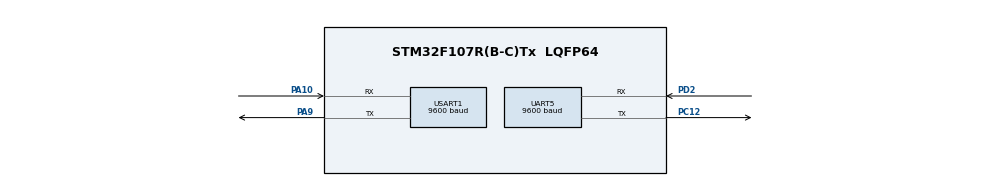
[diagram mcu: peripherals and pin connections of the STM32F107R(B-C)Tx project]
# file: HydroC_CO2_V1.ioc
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FREERTOS.BinarySemaphores01=glider_uart_sem,Dynamic,NULL;sensor_uart_sem,Dynamic,NULL
FREERTOS.Tasks01=defaultTask,0,256,StartDefaultTask,Default,NULL,Dynamic,NULL,NULL;uart_tx_t,0,256,uart_tx_f,Default,NULL,Dynamic,NULL,NULL
FREERTOS.Timers01=timer1,timer1_cb,osTimerOnce,Default,NULL,Dynamic,NULL
FREERTOS.configTOTAL_HEAP_SIZE=20000
FREERTOS.configUSE_TIMERS=1
Mcu.Family=STM32F1
Mcu.Name=STM32F107R(B-C)Tx
Mcu.Package=LQFP64
NVIC.PriorityGroup=NVIC_PRIORITYGROUP_4
NVIC.TIM1_UP_IRQn=true\:15\:0\:false\:false\:true\:false\:false\:true\:true
NVIC.TimeBase=TIM1_UP_IRQn
NVIC.TimeBaseIP=TIM1
NVIC.UART5_IRQn=true\:5\:0\:false\:false\:true\:true\:true\:true\:true
NVIC.USART1_IRQn=true\:5\:0\:false\:false\:true\:true\:true\:true\:true
PA10.Mode=Asynchronous
PA10.Signal=USART1_RX
PA9.Mode=Asynchronous
PA9.Signal=USART1_TX
PC12.Mode=Asynchronous
PC12.Signal=UART5_TX
PD0-OSC_IN.Mode=HSE-External-Oscillator
PD0-OSC_IN.Signal=RCC_OSC_IN
PD1-OSC_OUT.Mode=HSE-External-Oscillator
PD1-OSC_OUT.Signal=RCC_OSC_OUT
PD2.Mode=Asynchronous
PD2.Signal=UART5_RX
ProjectManager.HeapSize=0x200
ProjectManager.StackSize=0x400
ProjectManager.TargetToolchain=STM32CubeIDE
RCC.HSE_VALUE=10000000
RCC.USBFreq_Value=10666666.666666666
UART5.BaudRate=9600
UART5.VirtualMode=Asynchronous
USART1.BaudRate=9600
USART1.VirtualMode=VM_ASYNC
VP_FREERTOS_VS_CMSIS_V1.Mode=CMSIS_V1
VP_SYS_VS_ND.Mode=No_Debug
VP_SYS_VS_tim1.Mode=TIM1
board=custom

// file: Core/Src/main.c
/* USER CODE BEGIN Header */
/**
  ******************************************************************************
  * @file           : main.c
  * @brief          : Main program body
  ******************************************************************************
  * @attention
  *
  * <h2><center>&copy; Copyright (c) 2022 STMicroelectronics.
  * All rights reserved.</center></h2>
  *
  * This software component is licensed by ST under Ultimate Liberty license
  * SLA0044, the "License"; You may not use this file except in compliance with
  * the License. You may obtain a copy of the License at:
  *                             www.st.com/SLA0044
  *
  ******************************************************************************
  */
/* USER CODE END Header */
#include "main.h"
#include "cmsis_os.h"

/* USER CODE BEGIN Includes */
#include "seaglider.h"
#include "HYDROC.h"
#include "string.h"
#include "mcu_flash.h"

/* USER CODE END Includes */

/* USER CODE BEGIN PD */

#define  SENSOR_UART             huart1
#define  GLIDER_UART             huart5

/* USER CODE END PD */

UART_HandleTypeDef huart5;
UART_HandleTypeDef huart1;

osThreadId defaultTaskHandle;
osThreadId uart_tx_tHandle;
osTimerId timer1Handle;
osSemaphoreId glider_uart_semHandle;
osSemaphoreId sensor_uart_semHandle;
/* USER CODE BEGIN PV */

seaglider glider1;
hydroc hydroc_sensor1;
mcu_flash data_flash;

/* USER CODE END PV */

void SystemClock_Config(void);
static void MX_GPIO_Init(void);
static void MX_UART5_Init(void);
static void MX_USART1_UART_Init(void);
void StartDefaultTask(void const * argument);
void uart_tx_f(void const * argument);
void timer1_cb(void const * argument);

int main(void)
{

  /* MCU Configuration--------------------------------------------------------*/

  /* Reset of all peripherals, Initializes the Flash interface and the Systick. */
  HAL_Init();

  /* Configure the system clock */
  SystemClock_Config();

  /* Initialize all configured peripherals */
  MX_GPIO_Init();
  MX_UART5_Init();
  MX_USART1_UART_Init();
  /* USER CODE BEGIN 2 */
  seaglider_init(&glider1);
  hydroc_init(&hydroc_sensor1);
  mcu_flash_init(&data_flash,82);

  HAL_UART_Receive_IT(&SENSOR_UART,&(hydroc_sensor1.media_rx_byte),1);
  HAL_UART_Receive_IT(&GLIDER_UART,&(glider1.media_rx_byte),1);

  /* USER CODE END 2 */

  /* Create the semaphores(s) */
  /* definition and creation of glider_uart_sem */
  osSemaphoreDef(glider_uart_sem);
  glider_uart_semHandle = osSemaphoreCreate(osSemaphore(glider_uart_sem), 1);

  /* definition and creation of sensor_uart_sem */
  osSemaphoreDef(sensor_uart_sem);
  sensor_uart_semHandle = osSemaphoreCreate(osSemaphore(sensor_uart_sem), 1);

  /* Create the timer(s) */
  /* definition and creation of timer1 */
  osTimerDef(timer1, timer1_cb);
  timer1Handle = osTimerCreate(osTimer(timer1), osTimerOnce, NULL);

  /* Create the thread(s) */
  /* definition and creation of defaultTask */
  osThreadDef(defaultTask, StartDefaultTask, osPriorityNormal, 0, 256);
  defaultTaskHandle = osThreadCreate(osThread(defaultTask), NULL);

  /* definition and creation of uart_tx_t */
  osThreadDef(uart_tx_t, uart_tx_f, osPriorityNormal, 0, 256);
  uart_tx_tHandle = osThreadCreate(osThread(uart_tx_t), NULL);

  /* Start scheduler */
  osKernelStart();

  /* We should never get here as control is now taken by the scheduler */
  /* Infinite loop */
  while (1)
  {

  }
}

void SystemClock_Config(void)
{
  RCC_OscInitTypeDef RCC_OscInitStruct = {0};
  RCC_ClkInitTypeDef RCC_ClkInitStruct = {0};

  /** Initializes the RCC Oscillators according to the specified parameters
  * in the RCC_OscInitTypeDef structure.
  */
  RCC_OscInitStruct.OscillatorType = RCC_OSCILLATORTYPE_HSI;
  RCC_OscInitStruct.HSIState = RCC_HSI_ON;
  RCC_OscInitStruct.HSICalibrationValue = RCC_HSICALIBRATION_DEFAULT;
  RCC_OscInitStruct.PLL.PLLState = RCC_PLL_NONE;
  RCC_OscInitStruct.PLL2.PLL2State = RCC_PLL_NONE;
  if (HAL_RCC_OscConfig(&RCC_OscInitStruct) != HAL_OK)
  {
    Error_Handler();
  }
  /** Initializes the CPU, AHB and APB buses clocks
  */
  RCC_ClkInitStruct.ClockType = RCC_CLOCKTYPE_HCLK|RCC_CLOCKTYPE_SYSCLK
                              |RCC_CLOCKTYPE_PCLK1|RCC_CLOCKTYPE_PCLK2;
  RCC_ClkInitStruct.SYSCLKSource = RCC_SYSCLKSOURCE_HSI;
  RCC_ClkInitStruct.AHBCLKDivider = RCC_SYSCLK_DIV1;
  RCC_ClkInitStruct.APB1CLKDivider = RCC_HCLK_DIV1;
  RCC_ClkInitStruct.APB2CLKDivider = RCC_HCLK_DIV1;

  if (HAL_RCC_ClockConfig(&RCC_ClkInitStruct, FLASH_LATENCY_0) != HAL_OK)
  {
    Error_Handler();
  }
  /** Configure the Systick interrupt time
  */
  __HAL_RCC_PLLI2S_ENABLE();
}

static void MX_UART5_Init(void)
{

  huart5.Instance = UART5;
  huart5.Init.BaudRate = 9600;
  huart5.Init.WordLength = UART_WORDLENGTH_8B;
  huart5.Init.StopBits = UART_STOPBITS_1;
  huart5.Init.Parity = UART_PARITY_NONE;
  huart5.Init.Mode = UART_MODE_TX_RX;
  huart5.Init.HwFlowCtl = UART_HWCONTROL_NONE;
  huart5.Init.OverSampling = UART_OVERSAMPLING_16;
  if (HAL_UART_Init(&huart5) != HAL_OK)
  {
    Error_Handler();
  }

}

static void MX_USART1_UART_Init(void)
{

  huart1.Instance = USART1;
  huart1.Init.BaudRate = 9600;
  huart1.Init.WordLength = UART_WORDLENGTH_8B;
  huart1.Init.StopBits = UART_STOPBITS_1;
  huart1.Init.Parity = UART_PARITY_NONE;
  huart1.Init.Mode = UART_MODE_TX_RX;
  huart1.Init.HwFlowCtl = UART_HWCONTROL_NONE;
  huart1.Init.OverSampling = UART_OVERSAMPLING_16;
  if (HAL_UART_Init(&huart1) != HAL_OK)
  {
    Error_Handler();
  }

}

static void MX_GPIO_Init(void)
{

  /* GPIO Ports Clock Enable */
  __HAL_RCC_GPIOD_CLK_ENABLE();
  __HAL_RCC_GPIOA_CLK_ENABLE();
  __HAL_RCC_GPIOC_CLK_ENABLE();

}

/* USER CODE BEGIN 4 */
uint8_t tmp1;
uint8_t tmp2;

void HAL_UART_RxCpltCallback(UART_HandleTypeDef *huart)
{
 if(huart==&SENSOR_UART)
 {
	 hydroc_media_process_byte(&hydroc_sensor1,hydroc_sensor1.media_rx_byte);
	 HAL_UART_Receive_IT(&SENSOR_UART,&(hydroc_sensor1.media_rx_byte),1);
 }
 else if(huart==&GLIDER_UART)
 {
	 seaglider_media_process_byte(&glider1,glider1.media_rx_byte);
	 HAL_UART_Receive_IT(&GLIDER_UART,&(glider1.media_rx_byte),1);
 }
}

void HAL_UART_TxCpltCallback(UART_HandleTypeDef *huart)
{

 if(huart==&SENSOR_UART)
 {
	 if(hydroc_media_get_byte(&hydroc_sensor1,&tmp2)==HYDROC_F_OK)
	 {
	    HAL_UART_Transmit_IT(&SENSOR_UART,&tmp2,1);
	 }
 }
 else if(huart==&GLIDER_UART)
 {
	 if(seaglider_media_get_byte(&glider1,&tmp1)==SEAGLIDER_F_OK)
	 {
	    HAL_UART_Transmit_IT(&GLIDER_UART,&tmp1,1);
	 }
 }
}

/* USER CODE END 4 */

void StartDefaultTask(void const * argument)
{
  /* USER CODE BEGIN 5 */
  /* Infinite loop */

  //HAL_UART_Transmit(&GLIDER_UART,"GLDR\r",5,10);
  //HAL_UART_Transmit(&SENSOR_UART,"SENS\r",5,10);

  mcu_flash_open(&data_flash);
  uint8_t event_id;
  char tmp_str[30];
  memory_region_pointer ptr1;

  osDelay(50);
  seaglider_send_cmd(&glider1,SEAGLIDER_CMD_PROMPT,NULL);

  for(;;)
  {
		 //glider task
		 if(seaglider_get_event(&glider1,&event_id)==SEAGLIDER_F_OK)
		 {
			switch(event_id)
			{
			 case SEAGLIDER_EVNT_CLEAR_RCVD:
				  hydroc_send_cmd(&hydroc_sensor1,HYDROC_CMD_ENTER_CFG,NULL);
				  osDelay(1000);
				  hydroc_send_cmd(&hydroc_sensor1,HYDROC_CMD_CLEAR,NULL);
				  osDelay(1000);
				  hydroc_send_cmd(&hydroc_sensor1,HYDROC_CMD_EXIT_CFG,NULL);
				  seaglider_send_cmd(&glider1,SEAGLIDER_CMD_PROMPT,NULL);
			 break;
			 case SEAGLIDER_EVNT_POFF_RCVD:
				  hydroc_send_cmd(&hydroc_sensor1,HYDROC_CMD_ENTER_CFG,NULL);
				  osDelay(1000);
				  hydroc_send_cmd(&hydroc_sensor1,HYDROC_CMD_DISABLE_PUMP,NULL);
				  osDelay(1000);
				  hydroc_send_cmd(&hydroc_sensor1,HYDROC_CMD_EXIT_CFG,NULL);
				  seaglider_send_cmd(&glider1,SEAGLIDER_CMD_PROMPT,NULL);
			 break;
			 case SEAGLIDER_EVNT_DEPTH_RCVD:
				  seaglider_send_cmd(&glider1,SEAGLIDER_CMD_PROMPT,NULL);
	         break;
			 case SEAGLIDER_EVNT_STOP_RCVD:

				  mcu_flash_close(&data_flash,MCU_FLASH_CLEAN_FLAG);

				  if(glider1.dive_status==glider1.param_y)
				  {
					hydroc_send_cmd(&hydroc_sensor1,HYDROC_CMD_ENTER_CFG,NULL);
					osDelay(1000);
					hydroc_send_cmd(&hydroc_sensor1,HYDROC_CMD_SET_ZERO_MODE,NULL);
					osDelay(1000);
				    if(glider1.stop_trigger==SEAGLIDER_STOP_WAIT)
				    {
					  hydroc_send_cmd(&hydroc_sensor1,HYDROC_CMD_DISABLE_PUMP,NULL);
					  osDelay(1000);
				    }
					hydroc_send_cmd(&hydroc_sensor1,HYDROC_CMD_EXIT_CFG,NULL);
					osDelay(1000);
					glider1.stop_trigger=SEAGLIDER_STOP_TRIGGERED;
				  }

				  //hydroc_send_cmd(&hydroc_sensor1,HYDROC_CMD_TEST,NULL);
				  seaglider_send_cmd(&glider1,SEAGLIDER_CMD_PROMPT,NULL);
			 break;
			 case SEAGLIDER_EVNT_START_RCVD:

				  hydroc_sensor1.status=HYDROC_WAIT_DATA;

				  if(glider1.start_trigger==SEAGLIDER_START_WAIT)
				  {
					hydroc_send_cmd(&hydroc_sensor1,HYDROC_CMD_ENTER_CFG,NULL);
					osDelay(1000);
					hydroc_send_cmd(&hydroc_sensor1,HYDROC_CMD_ENABLE_PUMP,NULL);
					osDelay(1000);
					hydroc_send_cmd(&hydroc_sensor1,HYDROC_CMD_EXIT_CFG,NULL);
					glider1.start_trigger=SEAGLIDER_START_TRIGGERED;
				  }
				  //hydroc_send_cmd(&hydroc_sensor1,HYDROC_CMD_TEST,NULL);
				  seaglider_send_cmd(&glider1,SEAGLIDER_CMD_PROMPT,NULL);
			 break;
			 case SEAGLIDER_EVNT_CLOCK_RCVD:
				  seaglider_send_cmd(&glider1,SEAGLIDER_CMD_PROMPT,NULL);

				  xSemaphoreTake(sensor_uart_semHandle,portMAX_DELAY);
				  hydroc_send_cmd(&hydroc_sensor1,HYDROC_CMD_ENTER_CFG,tmp_str);
				  osDelay(1000);
				  memcpy(tmp_str,glider1.date,8);
				  memcpy(tmp_str+8,",0,",3);
				  memcpy(tmp_str+11,glider1.time,8);
				  memcpy(tmp_str+19,",0",2);
				  tmp_str[21]=0x00;
				  hydroc_send_cmd(&hydroc_sensor1,HYDROC_CMD_SET_REAL_TIME,tmp_str);
				  osDelay(1000);
				  hydroc_send_cmd(&hydroc_sensor1,HYDROC_CMD_EXIT_CFG,tmp_str);
				  xSemaphoreGive(sensor_uart_semHandle);

			 break;
			 case SEAGLIDER_EVNT_WAKEUP_RCVD:
				  seaglider_send_cmd(&glider1,SEAGLIDER_CMD_PROMPT,NULL);
			 break;

			 case SEAGLIDER_EVNT_TEST_RCVD:
				  seaglider_send_cmd(&glider1,SEAGLIDER_CMD_PROMPT,NULL);
				  ptr1.start_addr=data_flash.data_pages_addr;
				  ptr1.size=data_flash.flash_state.write_indx;
				  seaglider_send_cmd(&glider1,SEAGLIDER_CMD_SEND_DATA,&ptr1);
				  seaglider_send_cmd(&glider1,SEAGLIDER_CMD_PROMPT,NULL);
			 break;
			 case SEAGLIDER_EVNT_SEND_TXT_FILE_RCVD:
				  mcu_flash_close(&data_flash,MCU_FLASH_DIRTY_FLAG);
				  ptr1.start_addr=data_flash.data_pages_addr;
				  ptr1.size=data_flash.flash_state.write_indx;
				  seaglider_send_cmd(&glider1,SEAGLIDER_CMD_SEND_DATA,&ptr1);
				  seaglider_send_cmd(&glider1,SEAGLIDER_CMD_PROMPT,NULL);
			 break;

			}
		 }

		 //sensor tasks

		 if(hydroc_get_event(&hydroc_sensor1,&event_id)==HYDROC_F_OK)
		 {
	        switch(event_id)
	        {
	         case HYDROC_EVNT_CODS4:
	        	 mcu_flash_write(&data_flash,&hydroc_sensor1.ds4_data,strlen(hydroc_sensor1.ds4_data));
	         break;
	        }
		 }

         osDelay(1);
  }
  /* USER CODE END 5 */
}

void uart_tx_f(void const * argument)
{
  /* USER CODE BEGIN uart_tx_f */
  /* Infinite loop */
  uint8_t tmp1;
  uint8_t tmp2;
  glider1.media_status=SEAGLIDER_MEDIA_READY;
  hydroc_sensor1.media_status=HYDROC_MEDIA_READY;

  for(;;)
  {
   if(GLIDER_UART.gState!=HAL_UART_STATE_BUSY_TX)
   {
	if(seaglider_media_get_byte(&glider1,&tmp1)==SEAGLIDER_F_OK)
	{
	   HAL_UART_Transmit_IT(&GLIDER_UART,&tmp1,1);
	}
   }
   if(SENSOR_UART.gState!=HAL_UART_STATE_BUSY_TX)
   {

	if(hydroc_media_get_byte(&hydroc_sensor1,&tmp2)==HYDROC_F_OK)
	{
	   HAL_UART_Transmit_IT(&SENSOR_UART,&tmp2,1);
	}

   }
    osDelay(1);
  }
  /* USER CODE END uart_tx_f */
}

/* timer1_cb function */
void timer1_cb(void const * argument)
{
}

void HAL_TIM_PeriodElapsedCallback(TIM_HandleTypeDef *htim)
{
  if (htim->Instance == TIM1) {
    HAL_IncTick();
  }
}

void Error_Handler(void)
{
  __disable_irq();
  while (1)
  {
  }
}

/************************ (C) COPYRIGHT STMicroelectronics *****END OF FILE****/

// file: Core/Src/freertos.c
/* USER CODE BEGIN Header */
/**
  ******************************************************************************
  * File Name          : freertos.c
  * Description        : Code for freertos applications
  ******************************************************************************
  * @attention
  *
  * <h2><center>&copy; Copyright (c) 2022 STMicroelectronics.
  * All rights reserved.</center></h2>
  *
  * This software component is licensed by ST under Ultimate Liberty license
  * SLA0044, the "License"; You may not use this file except in compliance with
  * the License. You may obtain a copy of the License at:
  *                             www.st.com/SLA0044
  *
  ******************************************************************************
  */
/* USER CODE END Header */

#include "FreeRTOS.h"
#include "task.h"
#include "main.h"

/* GetIdleTaskMemory prototype (linked to static allocation support) */
void vApplicationGetIdleTaskMemory( StaticTask_t **ppxIdleTaskTCBBuffer, StackType_t **ppxIdleTaskStackBuffer, uint32_t *pulIdleTaskStackSize );

/* GetTimerTaskMemory prototype (linked to static allocation support) */
void vApplicationGetTimerTaskMemory( StaticTask_t **ppxTimerTaskTCBBuffer, StackType_t **ppxTimerTaskStackBuffer, uint32_t *pulTimerTaskStackSize );

/* USER CODE BEGIN GET_IDLE_TASK_MEMORY */
static StaticTask_t xIdleTaskTCBBuffer;
static StackType_t xIdleStack[configMINIMAL_STACK_SIZE];

void vApplicationGetIdleTaskMemory( StaticTask_t **ppxIdleTaskTCBBuffer, StackType_t **ppxIdleTaskStackBuffer, uint32_t *pulIdleTaskStackSize )
{
  *ppxIdleTaskTCBBuffer = &xIdleTaskTCBBuffer;
  *ppxIdleTaskStackBuffer = &xIdleStack[0];
  *pulIdleTaskStackSize = configMINIMAL_STACK_SIZE;
  /* place for user code */
}
/* USER CODE END GET_IDLE_TASK_MEMORY */

/* USER CODE BEGIN GET_TIMER_TASK_MEMORY */
static StaticTask_t xTimerTaskTCBBuffer;
static StackType_t xTimerStack[configTIMER_TASK_STACK_DEPTH];

void vApplicationGetTimerTaskMemory( StaticTask_t **ppxTimerTaskTCBBuffer, StackType_t **ppxTimerTaskStackBuffer, uint32_t *pulTimerTaskStackSize )
{
  *ppxTimerTaskTCBBuffer = &xTimerTaskTCBBuffer;
  *ppxTimerTaskStackBuffer = &xTimerStack[0];
  *pulTimerTaskStackSize = configTIMER_TASK_STACK_DEPTH;
  /* place for user code */
}
/* USER CODE END GET_TIMER_TASK_MEMORY */

/************************ (C) COPYRIGHT STMicroelectronics *****END OF FILE****/
